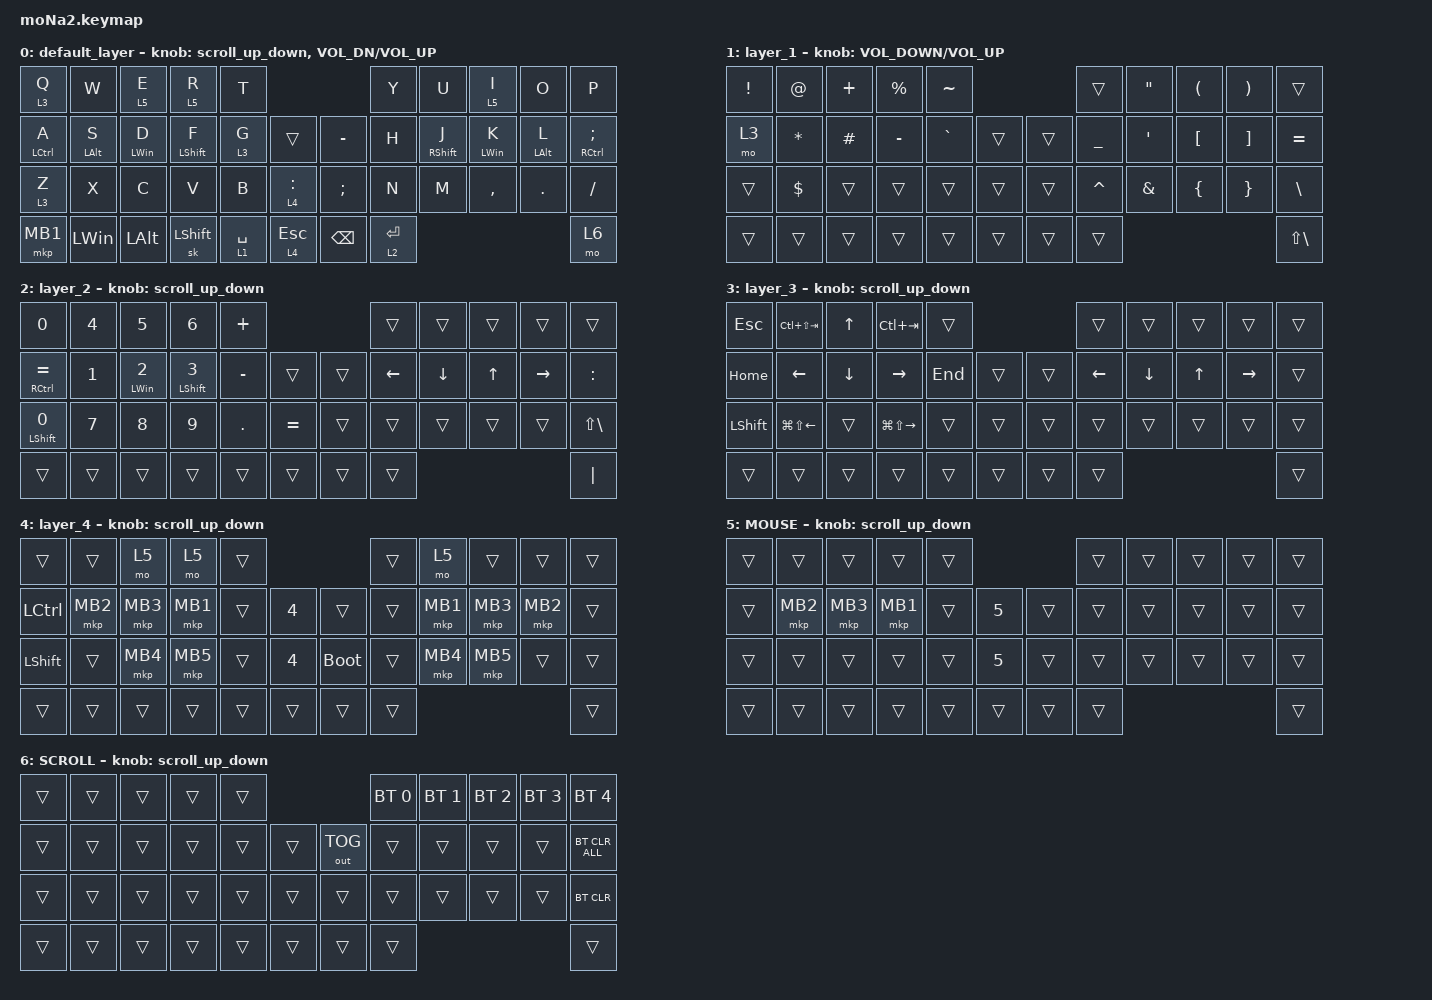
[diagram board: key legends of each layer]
#include <behaviors.dtsi>
#include <dt-bindings/zmk/bt.h>
#include <dt-bindings/zmk/keys.h>
#include <dt-bindings/zmk/outputs.h>
#include <dt-bindings/zmk/pointing.h>

#define ZMK_POINTING_DEFAULT_SCRL_VAL 100
#define MOUSE 5
#define SCROLL 6
#define HML_TAPPING_TERM 300
#define HML_QUICK_TAP 200
#define HML_REQUIRE_IDLE 150

&mt {
    flavor = "balanced";
    tapping-term-ms = <200>;
    quick-tap-ms = <200>;
};

/ {
    combos {
        compatible = "zmk,combos";

        tab {
            bindings = <&kp TAB>;
            key-positions = <1 2>;
        };
    };

    macros {
        to_layer_0: to_layer_0 {
            compatible = "zmk,behavior-macro-one-param";
            #binding-cells = <1>;
            bindings = <&to 0 &macro_param_1to1 &kp MACRO_PLACEHOLDER>;
            label = "TO_LAYER_0";
        };
    };

    behaviors {
        lt_to_layer_0: lt_to_layer_0 {
            compatible = "zmk,behavior-hold-tap";
            label = "LAYER_TAP_TO_0";
            bindings = <&mo>, <&to_layer_0>;

            #binding-cells = <2>;
            tapping-term-ms = <200>;
        };

        scroll_up_down: behavior_sensor_rotate_mouse_wheel_up_down {
            compatible = "zmk,behavior-sensor-rotate";
            #sensor-binding-cells = <0>;
            bindings = <&msc SCRL_UP>, <&msc SCRL_DOWN>;

            tap-ms = <20>;
        };

        tp_repeat_mo1: tp_repeat_mo1 {
            compatible = "zmk,behavior-hold-tap";
            label = "TP_REPEAT_MO1";
            #binding-cells = <2>;
            tapping-term-ms = <200>;
            quick-tap-ms = <100>;
            bindings = <&mo>, <&key_repeat>;
        };

        hml: positional_hold_tap_left {
            compatible = "zmk,behavior-hold-tap";
            #binding-cells = <2>;
            flavor = "balanced";
            tapping-term-ms = <HML_TAPPING_TERM>;
            quick-tap-ms = <HML_QUICK_TAP>;
            require-prior-idle-ms = <HML_REQUIRE_IDLE>;
            bindings = <&kp>, <&kp>;

            hold-trigger-key-positions = <KEYS_R THUMBS>;
            hold-trigger-on-release;
        };

        hmr: positional_hold_tap_right {
            compatible = "zmk,behavior-hold-tap";
            #binding-cells = <2>;
            flavor = "balanced";
            tapping-term-ms = <HML_TAPPING_TERM>;
            require-prior-idle-ms = <HML_REQUIRE_IDLE>;
            quick-tap-ms = <HML_QUICK_TAP>;
            bindings = <&kp>, <&kp>;

            hold-trigger-key-positions = <KEYS_L THUMBS>;
            hold-trigger-on-release;
        };
    };

    keymap {
        compatible = "zmk,keymap";

        default_layer {
            bindings = <
&lt 3 Q       &kp W            &lt 5 E          &lt 5 R            &kp T                                      &kp Y        &kp U               &lt 5 I          &kp O            &kp P
&hml LCTRL A  &hml LEFT_ALT S  &hml LEFT_WIN D  &hml LEFT_SHIFT F  &lt 3 G      &trans         &kp MINUS      &kp H        &hmr RIGHT_SHIFT J  &hmr LEFT_WIN K  &hmr LEFT_ALT L  &hmr RCTRL SEMICOLON
&lt 3 Z       &kp X            &kp C            &kp V              &kp B        &lt 4 COLON    &kp SEMICOLON  &kp N        &kp M               &kp COMMA        &kp DOT          &kp SLASH
&mkp MB1      &kp LEFT_WIN     &kp LEFT_ALT     &sk LEFT_SHIFT     &lt 1 SPACE  &lt 4 ESC      &kp BACKSPACE  &lt 2 ENTER                                                        &mo 6
            >;

            sensor-bindings =
                <&scroll_up_down>,
                <&inc_dec_kp C_VOL_DN C_VOL_UP>;
        };

        layer_1 {
            bindings = <
&kp EXCLAMATION  &kp AT_SIGN   &kp PLUS  &kp PERCENT  &kp TILDE                    &trans          &kp DOUBLE_QUOTES  &kp LEFT_PARENTHESIS  &kp RIGHT_PARENTHESIS  &trans
&mo 3            &kp ASTERISK  &kp HASH  &kp MINUS    &kp GRAVE  &trans    &trans  &kp UNDERSCORE  &kp SINGLE_QUOTE   &kp LEFT_BRACKET      &kp RIGHT_BRACKET      &kp EQUAL
&trans           &kp DOLLAR    &trans    &trans       &trans     &trans    &trans  &kp CARET       &kp AMPERSAND      &kp LEFT_BRACE        &kp RIGHT_BRACE        &kp BACKSLASH
&trans           &trans        &trans    &trans       &trans     &trans    &trans  &trans                                                                          &kp LS(BACKSLASH)
            >;

            sensor-bindings = <&inc_dec_kp C_VOLUME_DOWN C_VOLUME_UP>;
        };

        layer_2 {
            bindings = <
&kp NUMBER_0             &kp NUMBER_4  &kp NUMBER_5           &kp NUMBER_6             &kp PLUS                         &trans          &trans          &trans        &trans           &trans
&mt RCTRL EQUAL          &kp NUMBER_1  &mt LEFT_WIN NUMBER_2  &mt LEFT_SHIFT NUMBER_3  &kp MINUS   &trans       &trans  &kp LEFT_ARROW  &kp DOWN_ARROW  &kp UP_ARROW  &kp RIGHT_ARROW  &kp COLON
&mt LEFT_SHIFT NUMBER_0  &kp NUMBER_7  &kp NUMBER_8           &kp NUMBER_9             &kp PERIOD  &kp EQUAL    &trans  &trans          &trans          &trans        &trans           &kp LS(BACKSLASH)
&trans                   &trans        &trans                 &trans                   &trans      &trans       &trans  &trans                                                         &kp PIPE
            >;

            sensor-bindings = <&scroll_up_down>;
        };

        layer_3 {
            bindings = <
&kp ESCAPE      &kp LC(LS(TAB))         &kp UP_ARROW    &kp LC(TAB)              &trans                     &trans          &trans          &trans        &trans           &trans
&kp HOME        &kp LEFT_ARROW          &kp DOWN_ARROW  &kp RIGHT_ARROW          &kp END  &trans    &trans  &kp LEFT_ARROW  &kp DOWN_ARROW  &kp UP_ARROW  &kp RIGHT_ARROW  &trans
&kp LEFT_SHIFT  &kp LG(LS(LEFT_ARROW))  &trans          &kp LG(LS(RIGHT_ARROW))  &trans   &trans    &trans  &trans          &trans          &trans        &trans           &trans
&trans          &trans                  &trans          &trans                   &trans   &trans    &trans  &trans                                                         &trans
            >;

            sensor-bindings = <&scroll_up_down>;
        };

        layer_4 {
            bindings = <
&trans          &trans    &mo 5     &mo 5     &trans                               &trans  &mo 5     &trans    &trans    &trans
&kp LCTRL       &mkp MB2  &mkp MB3  &mkp MB1  &trans  &kp NUMBER_4    &trans       &trans  &mkp MB1  &mkp MB3  &mkp MB2  &trans
&kp LEFT_SHIFT  &trans    &mkp MB4  &mkp MB5  &trans  &kp NUMBER_4    &bootloader  &trans  &mkp MB4  &mkp MB5  &trans    &trans
&trans          &trans    &trans    &trans    &trans  &trans          &trans       &trans                                &trans
            >;

            sensor-bindings = <&scroll_up_down>;
        };

        MOUSE {
            bindings = <
&trans  &trans    &trans    &trans    &trans                          &trans  &trans  &trans  &trans  &trans
&trans  &mkp MB2  &mkp MB3  &mkp MB1  &trans  &kp NUMBER_5    &trans  &trans  &trans  &trans  &trans  &trans
&trans  &trans    &trans    &trans    &trans  &kp NUMBER_5    &trans  &trans  &trans  &trans  &trans  &trans
&trans  &trans    &trans    &trans    &trans  &trans          &trans  &trans                          &trans
            >;

            sensor-bindings = <&scroll_up_down>;
        };

        SCROLL {
            bindings = <
&trans  &trans  &trans  &trans  &trans                          &bt BT_SEL 0  &bt BT_SEL 1  &bt BT_SEL 2  &bt BT_SEL 3  &bt BT_SEL 4
&trans  &trans  &trans  &trans  &trans  &trans    &out OUT_TOG  &trans        &trans        &trans        &trans        &bt BT_CLR_ALL
&trans  &trans  &trans  &trans  &trans  &trans    &trans        &trans        &trans        &trans        &trans        &bt BT_CLR
&trans  &trans  &trans  &trans  &trans  &trans    &trans        &trans                                                  &trans
            >;

            sensor-bindings = <&scroll_up_down>;
        };
    };
};
